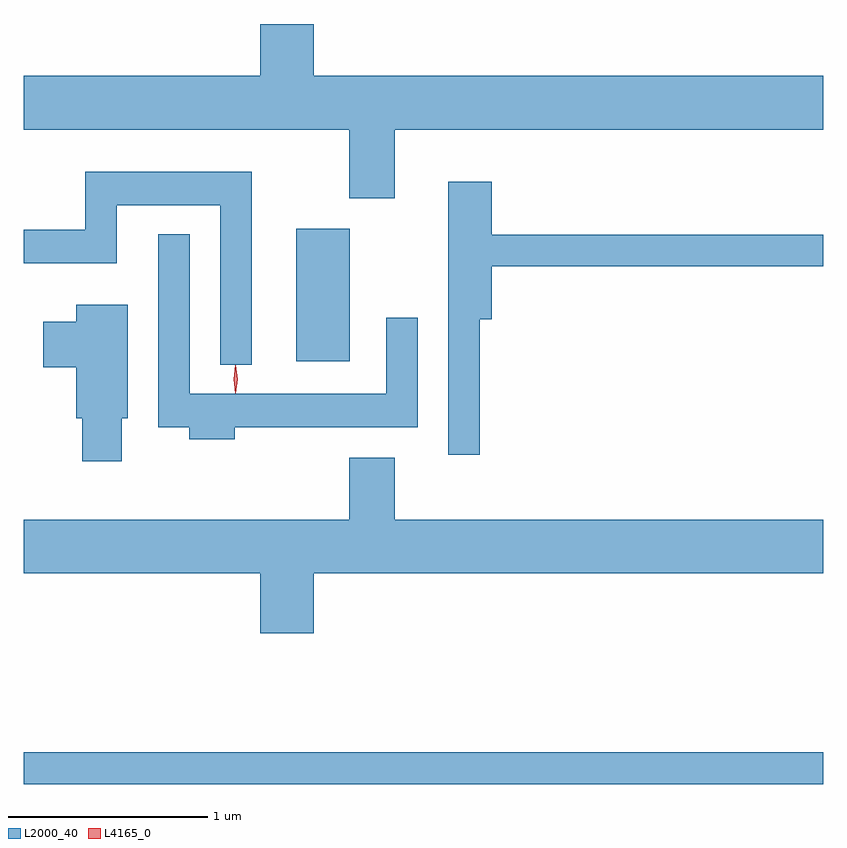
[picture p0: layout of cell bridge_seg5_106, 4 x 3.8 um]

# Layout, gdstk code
import gdstk
lib = gdstk.Library(unit=1e-6, precision=1e-09)
def R(c, l, rs):  # rectangles x0, y0, x1, y1
    for r in rs: c.add(gdstk.rectangle(r[:2], r[2:], *l))
def P(c, l, *ps):  # polygons
    for p in ps: c.add(gdstk.Polygon(p, *l))
L2000_40 = (2000, 40)
L4165_0 = (4165, 0)

bridge_seg5_106 = lib.new_cell('bridge_seg5_106')
R(bridge_seg5_106, L2000_40, [(1152.953,1511.241,1156.953,1511.399), (1154.316,1513.356,1154.584,1514.019)])
P(bridge_seg5_106, L2000_40, [(1154.809,1514.516),(1156.953,1514.516),(1156.953,1514.784),(1154.404,1514.784),(1154.404,1515.044),(1154.136,1515.044),(1154.136,1514.784),(1152.953,1514.784),(1152.953,1514.516),(1154.581,1514.516),(1154.581,1514.171),(1154.809,1514.171)],
  [(1154.094,1514.304),(1153.261,1514.304),(1153.261,1514.014),(1152.953,1514.014),(1152.953,1513.846),(1153.419,1513.846),(1153.419,1514.136),(1153.936,1514.136),(1153.936,1513.338),(1154.094,1513.338)],
  [(1155.234,1513.566),(1155.294,1513.566),(1155.294,1513.831),(1156.953,1513.831),(1156.953,1513.989),(1155.294,1513.989),(1155.294,1514.254),(1155.076,1514.254),(1155.076,1512.888),(1155.234,1512.888)],
  [(1154.009,1513.026),(1154.924,1513.026),(1154.924,1513.573),(1154.766,1513.573),(1154.766,1513.194),(1153.784,1513.194),(1153.784,1513.993),(1153.626,1513.993),(1153.626,1513.026),(1153.781,1513.026),(1153.781,1512.966),(1154.009,1512.966)],
  [(1153.444,1513.071),(1153.474,1513.071),(1153.474,1513.639),(1153.216,1513.639),(1153.216,1513.554),(1153.051,1513.554),(1153.051,1513.326),(1153.216,1513.326),(1153.216,1513.071),(1153.246,1513.071),(1153.246,1512.856),(1153.444,1512.856)],
  [(1154.404,1512.296),(1156.953,1512.296),(1156.953,1512.564),(1154.809,1512.564),(1154.809,1512.874),(1154.581,1512.874),(1154.581,1512.564),(1152.953,1512.564),(1152.953,1512.296),(1154.136,1512.296),(1154.136,1511.996),(1154.404,1511.996)])
P(bridge_seg5_106, L4165_0, [(1154.012,1513.197),(1154.003,1513.267),(1154.012,1513.336),(1154.013,1513.336),(1154.013,1513.336),(1154.023,1513.267),(1154.013,1513.197),(1154.013,1513.197)])

lib.write_gds('bridge_seg5_106.gds')
